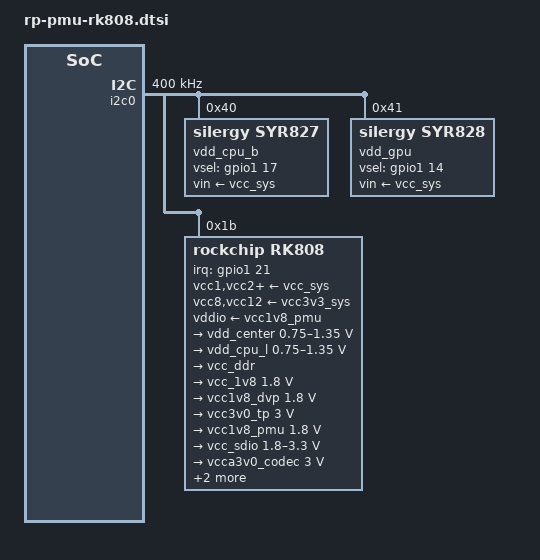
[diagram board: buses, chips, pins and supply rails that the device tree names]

&i2c0 {
        status = "okay";
        i2c-scl-rising-time-ns = <168>;
        i2c-scl-falling-time-ns = <4>;
        clock-frequency = <400000>;

        vdd_cpu_b: syr827@40 {
                compatible = "silergy,syr827";
                reg = <0x40>;
                vin-supply = <&vcc_sys>;
                regulator-compatible = "fan53555-reg";
                pinctrl-names = "default";
                pinctrl-0 = <&vsel1_gpio>;
                vsel-gpios = <&gpio1 17 GPIO_ACTIVE_HIGH>;
                regulator-name = "vdd_cpu_b";
                regulator-min-microvolt = <712500>;
                regulator-max-microvolt = <1500000>;
                regulator-ramp-delay = <1000>;
                fcs,suspend-voltage-selector = <1>;
                regulator-always-on;
                regulator-boot-on;
                regulator-initial-state = <3>;
                        regulator-state-mem {
                        regulator-off-in-suspend;
                };
        };

        vdd_gpu: syr828@41 {
                compatible = "silergy,syr828";
                reg = <0x41>;
                vin-supply = <&vcc_sys>;
                regulator-compatible = "fan53555-reg";
                pinctrl-names = "default";
                pinctrl-0 = <&vsel2_gpio>;
                vsel-gpios = <&gpio1 14 GPIO_ACTIVE_HIGH>;
                regulator-name = "vdd_gpu";
                regulator-min-microvolt = <712500>;
                regulator-max-microvolt = <1500000>;
                regulator-ramp-delay = <1000>;
                fcs,suspend-voltage-selector = <1>;
                regulator-always-on;
                regulator-boot-on;
                regulator-initial-state = <3>;
                        regulator-state-mem {
                        regulator-off-in-suspend;
                };
        };

        rk808: pmic@1b {
                compatible = "rockchip,rk808";
                reg = <0x1b>;
                interrupt-parent = <&gpio1>;
                interrupts = <21 IRQ_TYPE_LEVEL_LOW>;
                pinctrl-names = "default";
                pinctrl-0 = <&pmic_int_l &pmic_dvs2>;
                rockchip,system-power-controller;
                wakeup-source;
                #clock-cells = <1>;
                //clock-output-names = "xin32k", "rk808-clkout2";
               clock-output-names = "rk808-clkout1", "rk808-clkout2";   //wifi 

                vcc1-supply = <&vcc_sys>;
                vcc2-supply = <&vcc_sys>;
                vcc3-supply = <&vcc_sys>;
                vcc4-supply = <&vcc_sys>;
                vcc6-supply = <&vcc_sys>;
                vcc7-supply = <&vcc_sys>;
                vcc8-supply = <&vcc3v3_sys>;
                vcc9-supply = <&vcc_sys>;
                vcc10-supply = <&vcc_sys>;
                vcc11-supply = <&vcc_sys>;
                vcc12-supply = <&vcc3v3_sys>;
                vddio-supply = <&vcc1v8_pmu>;

                regulators {
                        vdd_center: DCDC_REG1 {
                                regulator-always-on;
                                regulator-boot-on;
                                regulator-min-microvolt = <750000>;
                                regulator-max-microvolt = <1350000>;
				regulator-init-microvolt = <1000000>;
																
                                regulator-ramp-delay = <6001>;
                                regulator-name = "vdd_center";
                                regulator-state-mem {
                                        regulator-off-in-suspend;
                                };
                        };

                        vdd_cpu_l: DCDC_REG2 {
                                regulator-always-on;
                                regulator-boot-on;
                                regulator-min-microvolt = <750000>;
                                regulator-max-microvolt = <1350000>;
                                regulator-ramp-delay = <6001>;
                                regulator-name = "vdd_cpu_l";
                                regulator-state-mem {
                                        regulator-off-in-suspend;
                                };
                        };

                        vcc_ddr: DCDC_REG3 {
                                regulator-always-on;
                                regulator-boot-on;
                                regulator-name = "vcc_ddr";
                                regulator-state-mem {
                                        regulator-on-in-suspend;
                                };
                        };

                        vcc_1v8: DCDC_REG4 {
                                regulator-always-on;
                                regulator-boot-on;
                                regulator-min-microvolt = <1800000>;
                                regulator-max-microvolt = <1800000>;
                                regulator-name = "vcc_1v8";
                                regulator-state-mem {
                                        regulator-on-in-suspend;
                                        regulator-suspend-microvolt = <1800000>;
                                };
                        };

                        vcc1v8_dvp: LDO_REG1 {
                                regulator-always-on;
                                regulator-boot-on;
                                regulator-min-microvolt = <1800000>;
                                regulator-max-microvolt = <1800000>;
                                regulator-name = "vcc1v8_dvp";
                                regulator-state-mem {
                                        regulator-off-in-suspend;
                                };
                        };

                        vcc3v0_tp: LDO_REG2 {
                                regulator-always-on;
                                regulator-boot-on;
                                regulator-min-microvolt = <3000000>;
                                regulator-max-microvolt = <3000000>;
                                regulator-name = "vcc3v0_tp";
                                regulator-state-mem {
                                        //regulator-off-in-suspend;
                                        regulator-on-in-suspend;
                                        regulator-suspend-microvolt = <3000000>;
                                };
                        };

                        vcc1v8_pmu: LDO_REG3 {
                                regulator-always-on;
                                regulator-boot-on;
                                regulator-min-microvolt = <1800000>;
                                regulator-max-microvolt = <1800000>;
                                regulator-name = "vcc1v8_pmu";
                                regulator-state-mem {
                                        regulator-on-in-suspend;
                                        regulator-suspend-microvolt = <1800000>;
                                };
                        };

                        vcc_sdio: LDO_REG4 {
                                regulator-always-on;
                                regulator-boot-on;
                                regulator-min-microvolt = <1800000>;
                                regulator-max-microvolt = <3300000>;
                                regulator-name = "vcc_sdio";
                                regulator-state-mem {
                                        regulator-off-in-suspend;
                                    //    regulator-suspend-microvolt = <3000000>;
                                };
                        };

                        vcca3v0_codec: LDO_REG5 {
                                regulator-always-on;
                                regulator-boot-on;
                                regulator-min-microvolt = <3000000>;
                                regulator-max-microvolt = <3000000>;
                                regulator-name = "vcca3v0_codec";
                                regulator-state-mem {
                                        regulator-on-in-suspend;
                                        regulator-suspend-microvolt = <3000000>;
                                };
                        };

                        vcc_1v5: LDO_REG6 {
                                regulator-always-on;
                                regulator-boot-on;
                                regulator-min-microvolt = <1500000>;
                                regulator-max-microvolt = <1500000>;
                                regulator-name = "vcc_1v5";
                                regulator-state-mem {
                                        regulator-on-in-suspend;
                                        regulator-suspend-microvolt = <1500000>;
                                };
                        };

                        vcca1v8_codec: LDO_REG7 {
                                regulator-always-on;
                                regulator-boot-on;
                                regulator-min-microvolt = <1800000>;
                                regulator-max-microvolt = <1800000>;
                                regulator-name = "vcca1v8_codec";
                                regulator-state-mem {
                                        regulator-off-in-suspend;
                                     //   regulator-suspend-microvolt = <1800000>;
                                };
                        };

                        vcc_3v0: LDO_REG8 {
                                regulator-always-on;
                                regulator-boot-on;
                                regulator-min-microvolt = <3000000>;
                                regulator-max-microvolt = <3000000>;
                                regulator-name = "vcc_3v0";
                                regulator-state-mem {
                                        regulator-on-in-suspend;
                                        regulator-suspend-microvolt = <3000000>;
                                };
                        };

                        vcc3v3_s3: vcc_lan: SWITCH_REG1 {
                                regulator-always-on;
                                regulator-boot-on;
                                regulator-name = "vcc3v3_s3";
                                regulator-state-mem {
                                        regulator-off-in-suspend;
                                };
                        };

                        vcc3v3_s0: SWITCH_REG2 {
                                regulator-always-on;
                                regulator-boot-on;
                                regulator-name = "vcc3v3_s0";
                                regulator-state-mem {
                                        regulator-off-in-suspend;
                                };
                        };
                };
        };
};


&pinctrl {
        pmic {
                pmic_int_l: pmic-int-l {
                        rockchip,pins =
                                <1 21 RK_FUNC_GPIO &pcfg_pull_up>;
                };
                pmic_dvs2: pmic-dvs2 {
                        rockchip,pins =
                                <1 5 RK_FUNC_GPIO &pcfg_pull_down>;
                };
                vsel1_gpio: vsel1-gpio {
                        rockchip,pins =
                                <1 17 RK_FUNC_GPIO &pcfg_pull_down>;
                };
                vsel2_gpio: vsel2-gpio {
                        rockchip,pins =
                                <1 14 RK_FUNC_GPIO &pcfg_pull_down>;
                };
        };
};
